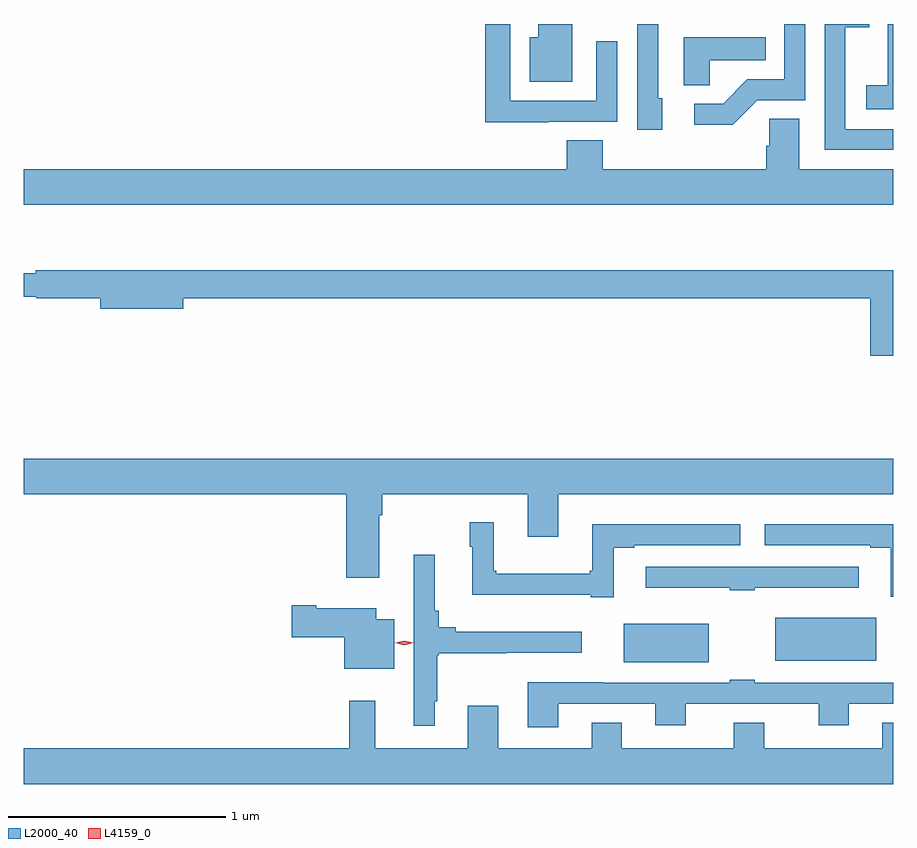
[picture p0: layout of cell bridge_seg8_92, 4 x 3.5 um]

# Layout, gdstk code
import gdstk
lib = gdstk.Library(unit=1e-6, precision=1e-09)
def R(c, l, rs):  # rectangles x0, y0, x1, y1
    for r in rs: c.add(gdstk.rectangle(r[:2], r[2:], *l))
def P(c, l, *ps):  # polygons
    for p in ps: c.add(gdstk.Polygon(p, *l))
L2000_40 = (2000, 40)
L4159_0 = (4159, 0)

bridge_seg8_92 = lib.new_cell('bridge_seg8_92')
R(bridge_seg8_92, L2000_40, [(839.3,1123.721,839.692,1123.897), (839.999,1123.727,840.463,1123.924)])
P(bridge_seg8_92, L2000_40, [(840.541,1126.656),(840.516,1126.656),(840.516,1126.604),(840.515,1126.604),(840.515,1126.375),(840.417,1126.375),(840.417,1126.265),(840.541,1126.265)],
  [(839.916,1126.305),(840.135,1126.305),(840.135,1126.656),(840.039,1126.656),(840.039,1126.401),(839.87,1126.401),(839.759,1126.29),(839.625,1126.29),(839.625,1126.193),(839.803,1126.193)],
  [(840.541,1126.173),(840.321,1126.173),(840.321,1126.642),(840.431,1126.642),(840.431,1126.656),(840.225,1126.656),(840.225,1126.077),(840.541,1126.077)],
  [(839.479,1126.314),(839.46,1126.314),(839.46,1126.656),(839.364,1126.656),(839.364,1126.17),(839.479,1126.17)],
  [(838.955,1126.206),(839.271,1126.206),(839.271,1126.576),(839.175,1126.576),(839.175,1126.302),(838.779,1126.302),(838.779,1126.656),(838.663,1126.656),(838.663,1126.205),(838.955,1126.205)],
  [(839.065,1126.656),(838.907,1126.656),(838.907,1126.594),(838.868,1126.594),(838.868,1126.391),(839.065,1126.391)],
  [(839.697,1126.49),(839.954,1126.49),(839.954,1126.594),(839.576,1126.594),(839.576,1126.375),(839.697,1126.375)],
  [(840.541,1125.988),(840.109,1125.988),(840.109,1126.22),(839.97,1126.22),(839.97,1126.097),(839.957,1126.097),(839.957,1125.988),(839.204,1125.988),(839.204,1126.121),(839.039,1126.121),(839.039,1125.988),(836.541,1125.988),(836.541,1125.824),(840.541,1125.824)],
  [(840.541,1125.523),(836.596,1125.523),(836.596,1125.51),(836.541,1125.51),(836.541,1125.402),(836.598,1125.402),(836.598,1125.394),(836.894,1125.394),(836.894,1125.347),(837.274,1125.347),(837.274,1125.394),(840.434,1125.394),(840.434,1125.129),(840.541,1125.129)],
  [(838.177,1124.396),(838.19,1124.396),(838.19,1124.492),(838.859,1124.492),(838.859,1124.298),(838.999,1124.298),(838.999,1124.492),(840.541,1124.492),(840.541,1124.656),(836.541,1124.656),(836.541,1124.492),(838.025,1124.492),(838.025,1124.109),(838.177,1124.109)],
  [(839.254,1124.247),(839.35,1124.247),(839.35,1124.259),(839.836,1124.259),(839.836,1124.356),(839.156,1124.356),(839.156,1124.14),(839.145,1124.14),(839.145,1124.128),(838.714,1124.128),(838.714,1124.14),(838.702,1124.14),(838.702,1124.365),(838.593,1124.365),(838.593,1124.252),(838.604,1124.252),(838.604,1124.03),(839.15,1124.03),(839.15,1124.019),(839.254,1124.019)],
  [(840.541,1124.356),(839.949,1124.356),(839.949,1124.259),(840.434,1124.259),(840.434,1124.247),(840.53,1124.247),(840.53,1124.022),(840.541,1124.022)],
  [(838.432,1123.54),(838.444,1123.54),(838.444,1123.752),(838.451,1123.752),(838.451,1123.762),(838.763,1123.762),(838.763,1123.763),(839.107,1123.763),(839.107,1123.861),(838.528,1123.861),(838.528,1123.88),(838.451,1123.88),(838.451,1123.957),(838.432,1123.957),(838.432,1124.215),(838.334,1124.215),(838.334,1123.965),(838.335,1123.965),(838.335,1123.428),(838.432,1123.428)],
  [(839.903,1124.063),(840.382,1124.063),(840.382,1124.16),(839.403,1124.16),(839.403,1124.063),(839.788,1124.063),(839.788,1124.052),(839.903,1124.052)],
  [(838.246,1123.918),(838.162,1123.918),(838.162,1123.969),(837.886,1123.969),(837.886,1123.982),(837.774,1123.982),(837.774,1123.835),(838.016,1123.835),(838.016,1123.691),(838.246,1123.691)],
  [(838.999,1123.53),(839.447,1123.53),(839.447,1123.43),(839.587,1123.43),(839.587,1123.53),(840.197,1123.53),(840.197,1123.43),(840.337,1123.43),(840.337,1123.53),(840.541,1123.53),(840.541,1123.626),(839.903,1123.626),(839.903,1123.639),(839.788,1123.639),(839.788,1123.626),(839.204,1123.626),(839.204,1123.627),(838.859,1123.627),(838.859,1123.422),(838.999,1123.422)],
  [(840.541,1123.441),(840.491,1123.441),(840.491,1123.324),(839.947,1123.324),(839.947,1123.441),(839.807,1123.441),(839.807,1123.324),(839.293,1123.324),(839.293,1123.441),(839.153,1123.441),(839.153,1123.324),(838.723,1123.324),(838.723,1123.519),(838.583,1123.519),(838.583,1123.324),(838.157,1123.324),(838.157,1123.543),(838.039,1123.543),(838.039,1123.324),(836.541,1123.324),(836.541,1123.16),(840.541,1123.16)])
P(bridge_seg8_92, L4159_0, [(838.292,1123.799),(838.251,1123.809),(838.251,1123.809),(838.251,1123.809),(838.292,1123.819),(838.333,1123.809),(838.334,1123.809),(838.333,1123.809)])

lib.write_gds('bridge_seg8_92.gds')
